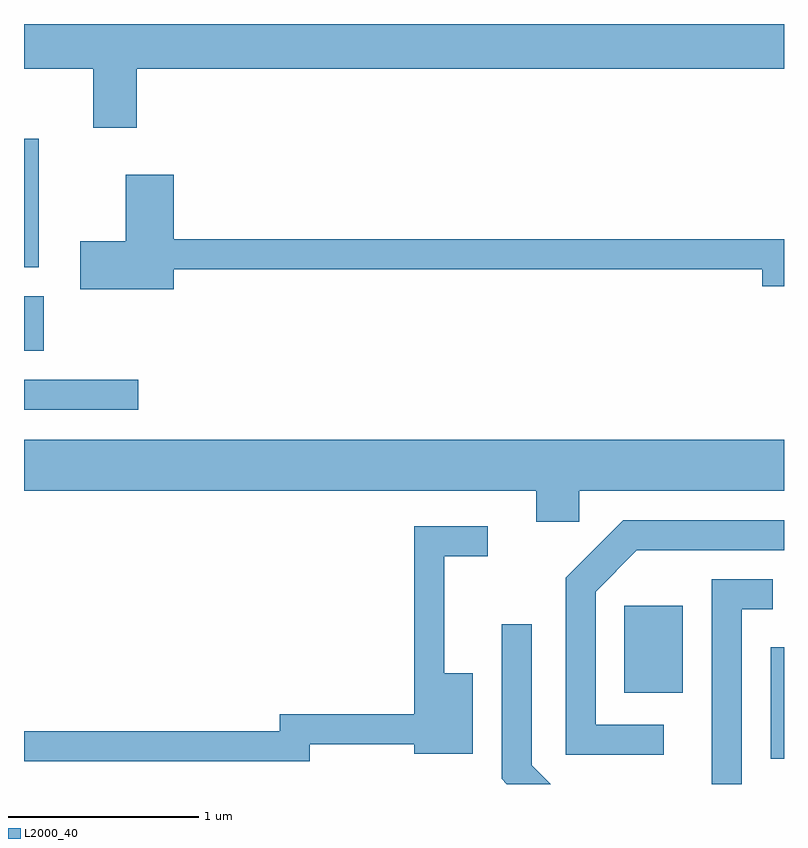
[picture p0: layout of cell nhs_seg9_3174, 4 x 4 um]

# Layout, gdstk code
import gdstk
lib = gdstk.Library(unit=1e-6, precision=1e-09)
def R(c, l, rs):  # rectangles x0, y0, x1, y1
    for r in rs: c.add(gdstk.rectangle(r[:2], r[2:], *l))
def P(c, l, *ps):  # polygons
    for p in ps: c.add(gdstk.Polygon(p, *l))
L2000_40 = (2000, 40)

nhs_seg9_3174 = lib.new_cell('nhs_seg9_3174')
R(nhs_seg9_3174, L2000_40, [(281.541,2052.566,281.611,2053.153), (280.771,2052.911,281.079,2053.369), (277.611,2054.401,278.213,2054.559), (277.611,2054.711,277.714,2054.999), (277.611,2055.151,277.689,2055.829)])
P(nhs_seg9_3174, L2000_40, [(278.204,2056.196),(281.611,2056.196),(281.611,2056.432),(277.611,2056.432),(277.611,2056.196),(277.976,2056.196),(277.976,2055.886),(278.204,2055.886)],
  [(278.399,2055.141),(281.496,2055.141),(281.496,2055.051),(281.611,2055.051),(281.611,2055.299),(278.399,2055.299),(278.399,2055.639),(278.146,2055.639),(278.146,2055.289),(277.906,2055.289),(277.906,2055.036),(278.399,2055.036)],
  [(280.534,2053.976),(281.611,2053.976),(281.611,2054.244),(277.611,2054.244),(277.611,2053.976),(280.306,2053.976),(280.306,2053.811),(280.534,2053.811)],
  [(280.978,2052.744),(280.619,2052.744),(280.619,2053.443),(280.837,2053.661),(281.611,2053.661),(281.611,2053.819),(280.764,2053.819),(280.461,2053.517),(280.461,2052.586),(280.978,2052.586)],
  [(279.114,2052.641),(279.666,2052.641),(279.666,2052.591),(279.974,2052.591),(279.974,2053.014),(279.824,2053.014),(279.824,2053.631),(280.053,2053.631),(280.053,2053.789),(279.666,2053.789),(279.666,2052.799),(278.956,2052.799),(278.956,2052.709),(277.611,2052.709),(277.611,2052.551),(279.114,2052.551)],
  [(281.389,2053.351),(281.553,2053.351),(281.553,2053.509),(281.231,2053.509),(281.231,2052.432),(281.389,2052.432)],
  [(280.284,2052.532),(280.284,2053.273),(280.126,2053.273),(280.126,2052.459),(280.153,2052.432),(280.384,2052.432)])

lib.write_gds('nhs_seg9_3174.gds')
